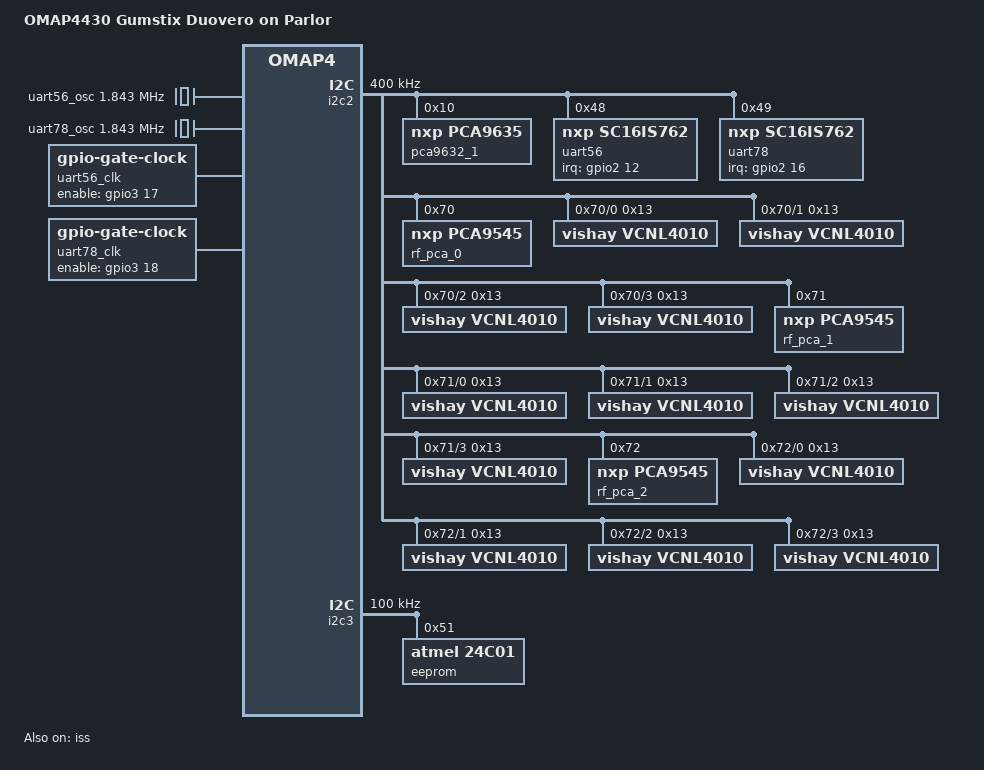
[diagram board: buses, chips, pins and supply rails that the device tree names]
/*
 * Copyright (C) 2014 Florian Vaussard, EPFL Mobots group
 *
 * This program is free software; you can redistribute it and/or modify
 * it under the terms of the GNU General Public License version 2 as
 * published by the Free Software Foundation.
 */
/dts-v1/;

#include "omap4-duovero.dtsi"

#include <dt-bindings/input/input.h>

/ {
	model = "OMAP4430 Gumstix Duovero on Parlor";
	compatible = "gumstix,omap4-duovero-parlor", "gumstix,omap4-duovero", "ti,omap4430", "ti,omap4";

	uart56_osc: uart56_osc {
		compatible = "fixed-clock";
		#clock-cells = <0>;
		clock-frequency = <1843200>;
	};

	uart78_osc: uart78_osc {
		compatible = "fixed-clock";
		#clock-cells = <0>;
		clock-frequency = <1843200>;
	};

	uart56_clk: uart56_clk {
		compatible = "gpio-gate-clock";
		clocks = <&uart56_osc>;
		#clock-cells = <0>;
		enable-gpios = <&gpio3 17 GPIO_ACTIVE_HIGH>; /* cam_shutter.gpio_81: uart56_clk_en */
	};

	uart78_clk: uart78_clk {
		compatible = "gpio-gate-clock";
		clocks = <&uart78_osc>;
		#clock-cells = <0>;
		enable-gpios = <&gpio3 18 GPIO_ACTIVE_HIGH>; /* cam_strobe.gpio_82: uart78_clk_en */
	};

/*
	ocp{
		iss: iss@52000000 {
			compatible = "ti,omap4iss";
			reg = <0x52000000 0x1000000>;
			interrupts = <GIC_SPI 24 IRQ_TYPE_LEVEL_HIGH>;
			ti,hwmods = "iss";
		};
		iss: iss@52000000 {
			compatible = "ti,omap4iss";
			reg = <0x52000000 0x100>, /* top *
			      <0x52001000 0x170>, /* csi2_a_regs1 *
			      <0x52001170 0x020>, /* camerarx_core1 *
			      <0x52001400 0x170>, /* csi2_b_regs1 *
			      <0x52001570 0x020>, /* camerarx_core2 *
			      <0x52002000 0x200>, /* bte *
			      <0x52010000 0x0a0>, /* isp_sys1 *
			      <0x52010400 0x400>, /* isp_resizer *
			      <0x52010800 0x800>, /* isp_ipipe *
			      <0x52011000 0x200>, /* isp_isif *
			      <0x52011200 0x080>; /* isp_ipipeif *
			reg-names = "top",
			            "csi2_a_regs1",
			            "camerarx_core1",
			            "csi2_b_regs1",
			            "camerarx_core2",
			            "bte",
			            "isp_sys1",
			            "isp_resizer",
			            "isp_ipipe",
			            "isp_isif",
			            "isp_ipipeif";
			status = "ok";
			ti,hwmods = "iss";
			interrupts = <GIC_SPI 24 IRQ_TYPE_LEVEL_HIGH>;
			//clocks = <&ducati_clk_mux_ck>, <&iss_ctrlclk>;
			//clock-names = "fck", "iss_ctrlclk";
			dmas = <&sdma 9>, <&sdma 10>, <&sdma 12>, <&sdma 13>;
			dma-names = "1", "2", "3", "4";

		        csi21: csi2 {
				endpoint {
					channel = "0";
					clock-lanes = <0>;
					data-lanes = <1>;
					//remote-endpoint = <&ov5640_1>;
				};
			};
		};
	};
*/
};

&omap4_pmx_core {
	pinctrl-0 = <
			&uart56ctrl_pins
			&uart78ctrl_pins
	>;

	i2c2_pins: pinmux_i2c2_pins {
		pinctrl-single,pins = <
			OMAP4_IOPAD(0x126, PIN_INPUT_PULLUP | MUX_MODE0)	/* i2c2_scl */
			OMAP4_IOPAD(0x128, PIN_INPUT_PULLUP | MUX_MODE0)	/* i2c2_sda */
		>;
	};

	i2c3_pins: pinmux_i2c3_pins {
		pinctrl-single,pins = <
			OMAP4_IOPAD(0x12a, PIN_INPUT_PULLUP | MUX_MODE0)	/* i2c3_scl */
			OMAP4_IOPAD(0x12c, PIN_INPUT_PULLUP | MUX_MODE0)	/* i2c3_sda */
		>;
	};

	uart56ctrl_pins: pinmux_uart56ctrl_pins {
		pinctrl-single,pins = <
			OMAP4_IOPAD(0x068, PIN_INPUT_PULLUP | MUX_MODE3)	/* gpmc_a20.gpio_44: uart56_irq */
			OMAP4_IOPAD(0x06a, PIN_INPUT_PULLUP | MUX_MODE3)	/* gpmc_a21.gpio_45: uart56_nrst */
			OMAP4_IOPAD(0x0bc, PIN_OUTPUT | MUX_MODE3)		/* cam_shutter.gpio_81: uart56_clk_en */
		>;
	};

	uart78ctrl_pins: pinmux_uart78ctrl_pins {
		pinctrl-single,pins = <
			OMAP4_IOPAD(0x070, PIN_INPUT_PULLUP | MUX_MODE3)	/* gpmc_a24.gpio_48: uart78_irq */
			OMAP4_IOPAD(0x06c, PIN_INPUT_PULLUP | MUX_MODE3)	/* gpmc_a24.gpio_46: uart78_nrst */
			OMAP4_IOPAD(0x0be, PIN_OUTPUT | MUX_MODE3)		/* cam_strobe.gpio_82: uart78_clk_en */
		>;
	};
/*
	iss_csi21_pins: pinmux_iss_csi21_pins {
		pinctrl-single,pins = <
			OMAP4_IOPAD(0x0a0, PIN_INPUT | MUX_MODE0)		/* csi21_dx0.csi21_dx0 *
			OMAP4_IOPAD(0x0a2, PIN_INPUT | MUX_MODE0)		/* csi21_dy0.csi21_dy0 *
			OMAP4_IOPAD(0x0a4, PIN_INPUT | MUX_MODE0)		/* csi21_dx1.csi21_dx1 *
			OMAP4_IOPAD(0x0a6, PIN_INPUT | MUX_MODE0)		/* csi21_dy1.csi21_dy1 *
			OMAP4_IOPAD(0x0a8, PIN_INPUT | MUX_MODE0)		/* csi21_dx2.csi21_dx2 *
			OMAP4_IOPAD(0x0aa, PIN_INPUT | MUX_MODE0)		/* csi21_dy2.csi21_dy2 *
		>;
	};
*/
};

&i2c2 {
	pinctrl-names = "default";
	pinctrl-0 = <&i2c2_pins>;

	clock-frequency = <400000>;

	pca9632_1: pca9632@10 {
		compatible = "nxp,pca9635";
		#address-cells = <1>;
		#size-cells = <0>;
		reg = <0x10>;

		leddeck1_red@0    { label = "led_deck[1]:red";   reg = <0>; };
		leddeck1_green@1  { label = "led_deck[1]:green"; reg = <1>; };
		leddeck1_blue@2   { label = "led_deck[1]:blue";  reg = <2>; };
		leddeck2_red@4    { label = "led_deck[2]:red";   reg = <4>; };
		leddeck2_green@5  { label = "led_deck[2]:green"; reg = <5>; };
		leddeck2_blue@6   { label = "led_deck[2]:blue";  reg = <6>; };
		leddeck3_red@8    { label = "led_deck[3]:red";   reg = <8>; };
		leddeck3_green@9  { label = "led_deck[3]:green"; reg = <9>; };
		leddeck3_blue@10  { label = "led_deck[3]:blue";  reg = <10>; };
		leddeck4_red@12   { label = "led_deck[4]:red";   reg = <12>; };
		leddeck4_green@13 { label = "led_deck[4]:green"; reg = <13>; };
		leddeck4_blue@14  { label = "led_deck[4]:blue";  reg = <14>; };
		unused0@3  { reg = <3>; };
		unused1@7  { reg = <7>; };
		unused2@11 { reg = <11>; };
		unused3@15 { reg = <15>; };
	};

	uart56: sc16is762@48 {
		compatible = "nxp,sc16is762";
		reg = <0x48>;
		clocks = <&uart56_clk>;

		interrupt-parent = <&gpio2>;
		interrupts = <12 IRQ_TYPE_EDGE_FALLING>; /* gpmc_a20.gpio_44 */
	};

	uart78: sc16is762@49 {
		compatible = "nxp,sc16is762";
		reg = <0x49>;
		clocks = <&uart78_clk>;

		interrupt-parent = <&gpio2>;
		interrupts = <16 IRQ_TYPE_EDGE_FALLING>; /* gpmc_a24.gpio_48 */
	};

	rf_pca_0: pca9545@70 {
		compatible = "nxp,pca9545";
		#address-cells = <1>;
		#size-cells = <0>;
		reg = <0x70>;
		i2c-mux-idle-disconnect;

		i2c@0 {
			#address-cells = <1>;
			#size-cells = <0>;
			reg = <0>;
			
			vcnl4010@13 {
				compatible = "vishay,vcnl4010";
				reg = <0x13>;
			};
		};

		i2c@1 {
			#address-cells = <1>;
			#size-cells = <0>;
			reg = <1>;
			
			vcnl4010@13 {
				compatible = "vishay,vcnl4010";
				reg = <0x13>;
			};
		};

		i2c@2 {
			#address-cells = <1>;
			#size-cells = <0>;
			reg = <2>;
			
			vcnl4010@13 {
				compatible = "vishay,vcnl4010";
				reg = <0x13>;
			};
		};

		i2c@3 {
			#address-cells = <1>;
			#size-cells = <0>;
			reg = <3>;
			
			vcnl4010@13 {
				compatible = "vishay,vcnl4010";
				reg = <0x13>;
			};
		};
	};
	rf_pca_1: pca9545@71 {
		compatible = "nxp,pca9545";
		#address-cells = <1>;
		#size-cells = <0>;
		reg = <0x71>;
		i2c-mux-idle-disconnect;

		i2c@0 {
			#address-cells = <1>;
			#size-cells = <0>;
			reg = <0>;
			
			vcnl4010@13 {
				compatible = "vishay,vcnl4010";
				reg = <0x13>;
			};
		};

		i2c@1 {
			#address-cells = <1>;
			#size-cells = <0>;
			reg = <1>;
			
			vcnl4010@13 {
				compatible = "vishay,vcnl4010";
				reg = <0x13>;
			};
		};

		i2c@2 {
			#address-cells = <1>;
			#size-cells = <0>;
			reg = <2>;
			
			vcnl4010@13 {
				compatible = "vishay,vcnl4010";
				reg = <0x13>;
			};
		};

		i2c@3 {
			#address-cells = <1>;
			#size-cells = <0>;
			reg = <3>;
			
			vcnl4010@13 {
				compatible = "vishay,vcnl4010";
				reg = <0x13>;
			};
		};
	};
	rf_pca_2: pca9545@72 {
		compatible = "nxp,pca9545";
		#address-cells = <1>;
		#size-cells = <0>;
		reg = <0x72>;
		i2c-mux-idle-disconnect;

		i2c@0 {
			#address-cells = <1>;
			#size-cells = <0>;
			reg = <0>;
			
			vcnl4010@13 {
				compatible = "vishay,vcnl4010";
				reg = <0x13>;
			};
		};

		i2c@1 {
			#address-cells = <1>;
			#size-cells = <0>;
			reg = <1>;
			
			vcnl4010@13 {
				compatible = "vishay,vcnl4010";
				reg = <0x13>;
			};
		};

		i2c@2 {
			#address-cells = <1>;
			#size-cells = <0>;
			reg = <2>;
			
			vcnl4010@13 {
				compatible = "vishay,vcnl4010";
				reg = <0x13>;
			};
		};

		i2c@3 {
			#address-cells = <1>;
			#size-cells = <0>;
			reg = <3>;
			
			vcnl4010@13 {
				compatible = "vishay,vcnl4010";
				reg = <0x13>;
			};
		};
	};
};

&i2c3 {
	pinctrl-names = "default";
	pinctrl-0 = <&i2c3_pins>;

	clock-frequency = <100000>;

	/* optional 1K EEPROM with revision information */
	eeprom@51 {
		compatible = "atmel,24c01";
		reg = <0x51>;
		pagesize = <8>;
	};
};

&mmc3 {
	status = "disabled";
};

&uart3 {
	interrupts-extended = <&wakeupgen GIC_SPI 74 IRQ_TYPE_LEVEL_HIGH
			       &omap4_pmx_core OMAP4_UART3_RX>;
};

&iss {
	status = "ok";
	//pinctrl-names = "default";
	//pinctrl-0 = <&iss_csi21_pins>;
};
